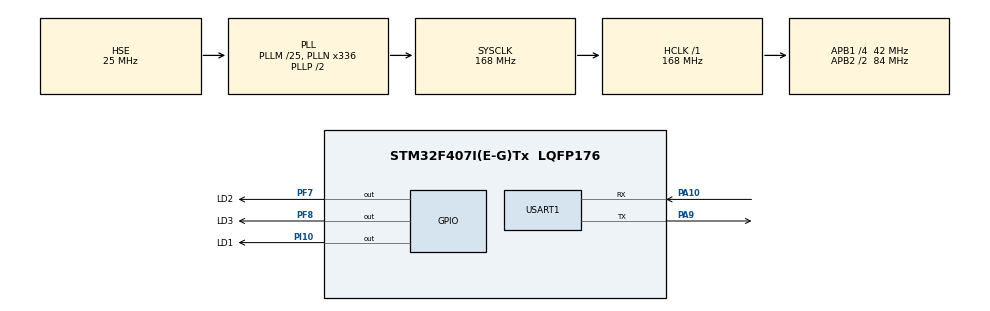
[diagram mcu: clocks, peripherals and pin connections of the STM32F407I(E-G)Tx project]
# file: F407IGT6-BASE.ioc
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Dma.Request0=USART1_RX
Dma.Request1=USART1_TX
Dma.USART1_RX.0.Direction=DMA_PERIPH_TO_MEMORY
Dma.USART1_RX.0.FIFOMode=DMA_FIFOMODE_DISABLE
Dma.USART1_RX.0.Instance=DMA2_Stream2
Dma.USART1_RX.0.MemDataAlignment=DMA_MDATAALIGN_BYTE
Dma.USART1_RX.0.MemInc=DMA_MINC_ENABLE
Dma.USART1_RX.0.Mode=DMA_CIRCULAR
Dma.USART1_RX.0.PeriphDataAlignment=DMA_PDATAALIGN_BYTE
Dma.USART1_RX.0.PeriphInc=DMA_PINC_DISABLE
Dma.USART1_RX.0.Priority=DMA_PRIORITY_MEDIUM
Dma.USART1_TX.1.Direction=DMA_MEMORY_TO_PERIPH
Dma.USART1_TX.1.FIFOMode=DMA_FIFOMODE_DISABLE
Dma.USART1_TX.1.Instance=DMA2_Stream7
Dma.USART1_TX.1.MemDataAlignment=DMA_MDATAALIGN_BYTE
Dma.USART1_TX.1.MemInc=DMA_MINC_ENABLE
Dma.USART1_TX.1.Mode=DMA_NORMAL
Dma.USART1_TX.1.PeriphDataAlignment=DMA_PDATAALIGN_BYTE
Dma.USART1_TX.1.PeriphInc=DMA_PINC_DISABLE
Dma.USART1_TX.1.Priority=DMA_PRIORITY_MEDIUM
Mcu.Family=STM32F4
Mcu.Name=STM32F407I(E-G)Tx
Mcu.Package=LQFP176
NVIC.DMA2_Stream2_IRQn=true\:0\:0\:false\:false\:true\:false\:true\:true
NVIC.DMA2_Stream7_IRQn=true\:0\:0\:false\:false\:true\:false\:true\:true
NVIC.PriorityGroup=NVIC_PRIORITYGROUP_4
NVIC.USART1_IRQn=true\:0\:0\:false\:false\:true\:true\:true\:true
PA10.GPIO_PuPd=GPIO_PULLUP
PA10.Mode=Asynchronous
PA10.Signal=USART1_RX
PA13.Mode=Serial_Wire
PA13.Signal=SYS_JTMS-SWDIO
PA14.Mode=Serial_Wire
PA14.Signal=SYS_JTCK-SWCLK
PA9.Mode=Asynchronous
PA9.Signal=USART1_TX
PF7.GPIO_Label=LD2
PF7.GPIO_Speed=GPIO_SPEED_FREQ_HIGH
PF7.Signal=GPIO_Output
PF8.GPIO_Label=LD3
PF8.GPIO_Speed=GPIO_SPEED_FREQ_MEDIUM
PF8.Signal=GPIO_Output
PH0-OSC_IN.Mode=HSE-External-Oscillator
PH0-OSC_IN.Signal=RCC_OSC_IN
PH1-OSC_OUT.Mode=HSE-External-Oscillator
PH1-OSC_OUT.Signal=RCC_OSC_OUT
PI10.GPIO_Label=LD1
PI10.GPIO_Speed=GPIO_SPEED_FREQ_MEDIUM
PI10.Signal=GPIO_Output
ProjectManager.HeapSize=0x200
ProjectManager.StackSize=0x2000
ProjectManager.TargetToolchain=MDK-ARM V5.32
RCC.48MHZClocksFreq_Value=84000000
RCC.AHBFreq_Value=168000000
RCC.APB1CLKDivider=RCC_HCLK_DIV4
RCC.APB1Freq_Value=42000000
RCC.APB1TimFreq_Value=84000000
RCC.APB2CLKDivider=RCC_HCLK_DIV2
RCC.APB2Freq_Value=84000000
RCC.APB2TimFreq_Value=168000000
RCC.CortexFreq_Value=168000000
RCC.HCLKFreq_Value=168000000
RCC.HSE_VALUE=25000000
RCC.HSI_VALUE=16000000
RCC.LSE_VALUE=32768
RCC.PLLM=25
RCC.PLLN=336
RCC.PLLSourceVirtual=RCC_PLLSOURCE_HSE
RCC.SYSCLKFreq_VALUE=168000000
RCC.SYSCLKSource=RCC_SYSCLKSOURCE_PLLCLK
RCC.VCOOutputFreq_Value=336000000
USART1.VirtualMode=VM_ASYNC
board=custom

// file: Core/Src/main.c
/* USER CODE BEGIN Header */
/**
  ******************************************************************************
  * @file           : main.c
  * @brief          : Main program body
  ******************************************************************************
  * @attention
  *
  * Copyright (c) 2022 STMicroelectronics.
  * All rights reserved.
  *
  * This software is licensed under terms that can be found in the LICENSE file
  * in the root directory of this software component.
  * If no LICENSE file comes with this software, it is provided AS-IS.
  *
  ******************************************************************************
  */
/* USER CODE END Header */
#include "main.h"
#include "dma.h"
#include "usart.h"
#include "gpio.h"

/* USER CODE BEGIN Includes */
#include "stdio.h"
#include "stdlib.h"
#include "string.h"
#include "EventRecorder.h"
#include "usart_drive.h"
#include "r200_rfid.h"
/* USER CODE END Includes */

/* USER CODE BEGIN PTD */
extern UART_HandleTypeDef huart1;
/* USER CODE END PTD */

/* USER CODE BEGIN PD */
volatile uint64_t fre = 0;

Usart_Drive g_Usart1;
R200_Rfid_Reader g_R200_Reader;
/* USER CODE END PD */

void SystemClock_Config(void);

int main(void)
 {

  /* MCU Configuration--------------------------------------------------------*/

  /* Reset of all peripherals, Initializes the Flash interface and the Systick. */
  HAL_Init();

  /* Configure the system clock */
  SystemClock_Config();

  /* Initialize all configured peripherals */
  MX_GPIO_Init();
  MX_DMA_Init();
  MX_USART1_UART_Init();
  /* USER CODE BEGIN 2 */
  EventRecorderInitialize(EventRecordAll,1U);
  EventRecorderStart();

  Usart_Drive_Object_Init(&g_Usart1, &huart1); // 实例化串口1
  R200_RFID_Reader_Object_Init(&g_R200_Reader); // 实例化R200 RFID读卡器
  g_R200_Reader.Link_Usart_Drive(&g_R200_Reader, &g_Usart1); // 连接串口驱动
  /* USER CODE END 2 */

  /* Infinite loop */
  while (1)
  {

    /* USER CODE BEGIN 3 */
    if(0x00 == fre % 200) {
        HAL_GPIO_TogglePin(LD1_GPIO_Port,LD1_Pin);
        HAL_GPIO_TogglePin(LD2_GPIO_Port,LD2_Pin);
        HAL_GPIO_TogglePin(LD3_GPIO_Port,LD3_Pin);
    }
    if (0x00 == fre % 20) g_R200_Reader.Run(&g_R200_Reader); // 运行RFID解析
    if (0x00 == fre % 2000) g_R200_Reader.Find_The_RFID_Tag_Once(&g_R200_Reader);
    if (0x00 == fre % 1000) {
        g_R200_Reader.Timeout_Counter_1S(&g_R200_Reader);
    }

    fre++;
    HAL_Delay(1);
  }
  /* USER CODE END 3 */
}

void SystemClock_Config(void)
{
  RCC_OscInitTypeDef RCC_OscInitStruct = {0};
  RCC_ClkInitTypeDef RCC_ClkInitStruct = {0};

  /** Configure the main internal regulator output voltage
  */
  __HAL_RCC_PWR_CLK_ENABLE();
  __HAL_PWR_VOLTAGESCALING_CONFIG(PWR_REGULATOR_VOLTAGE_SCALE1);

  /** Initializes the RCC Oscillators according to the specified parameters
  * in the RCC_OscInitTypeDef structure.
  */
  RCC_OscInitStruct.OscillatorType = RCC_OSCILLATORTYPE_HSE;
  RCC_OscInitStruct.HSEState = RCC_HSE_ON;
  RCC_OscInitStruct.PLL.PLLState = RCC_PLL_ON;
  RCC_OscInitStruct.PLL.PLLSource = RCC_PLLSOURCE_HSE;
  RCC_OscInitStruct.PLL.PLLM = 25;
  RCC_OscInitStruct.PLL.PLLN = 336;
  RCC_OscInitStruct.PLL.PLLP = RCC_PLLP_DIV2;
  RCC_OscInitStruct.PLL.PLLQ = 4;
  if (HAL_RCC_OscConfig(&RCC_OscInitStruct) != HAL_OK)
  {
    Error_Handler();
  }

  /** Initializes the CPU, AHB and APB buses clocks
  */
  RCC_ClkInitStruct.ClockType = RCC_CLOCKTYPE_HCLK|RCC_CLOCKTYPE_SYSCLK
                              |RCC_CLOCKTYPE_PCLK1|RCC_CLOCKTYPE_PCLK2;
  RCC_ClkInitStruct.SYSCLKSource = RCC_SYSCLKSOURCE_PLLCLK;
  RCC_ClkInitStruct.AHBCLKDivider = RCC_SYSCLK_DIV1;
  RCC_ClkInitStruct.APB1CLKDivider = RCC_HCLK_DIV4;
  RCC_ClkInitStruct.APB2CLKDivider = RCC_HCLK_DIV2;

  if (HAL_RCC_ClockConfig(&RCC_ClkInitStruct, FLASH_LATENCY_5) != HAL_OK)
  {
    Error_Handler();
  }
}

/* USER CODE BEGIN 4 */

void HAL_UART_TxCpltCallback(UART_HandleTypeDef *huart)
{
    if (huart->Instance == USART1)
    {
        // 发送完成后的处理逻辑，可以根据项目需求添加
        g_Usart1.Set_Flag_Tx_Complete(&g_Usart1, 0x01);
    }
}

/* USER CODE END 4 */

void Error_Handler(void)
{
  __disable_irq();
  while (1)
  {
  }
}
